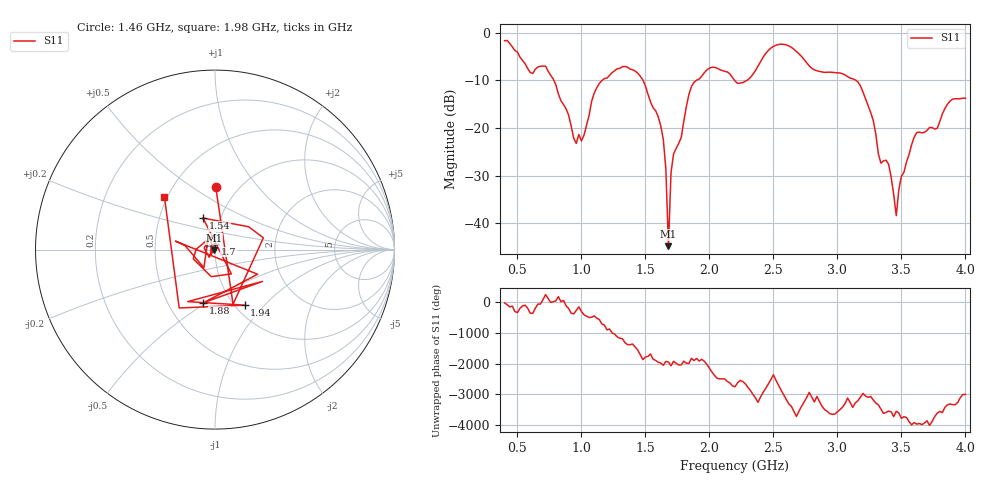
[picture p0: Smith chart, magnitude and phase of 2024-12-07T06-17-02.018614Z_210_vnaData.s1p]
!Created with skrf (http://scikit-rf.org).
# Hz S RI R 50.0
!freq ReS11 ImS11
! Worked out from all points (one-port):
!   181 points, 400 MHz to 4 GHz, reference 50 ohm
!   lowest |S11| = -44.8 dB at 1.68 GHz (marker M1), VSWR 1.01, Z = 49.5 - j0.288 ohm
!   |S11| at or under -10 dB: 785.4 MHz to 1.161 GHz (375.7 MHz wide, 38.6 % of centre); 1.482 GHz to 1.897 GHz (415.3 MHz wide, 24.6 % of centre); 3.146 GHz to end of sweep (the widest 3 of 4)
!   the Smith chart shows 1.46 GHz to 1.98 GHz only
!   S11 on the Smith chart (normalised r, x): 1.46 GHz: 0.79, +0.63; 1.54 GHz: 0.82, +0.30; 1.7 GHz: 1.00, +0.07; 1.88 GHz: 0.74, -0.48; 1.94 GHz: 1.11, -0.78; 1.98 GHz: 0.48, +0.34
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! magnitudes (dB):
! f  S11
! 400 MHz  -1.6
! 600 MHz  -8.3
! 720 MHz  -7.0
! 860 MHz  -15.0
! 1 GHz  -22.7
! 1.12 GHz  -11.5
! 1.3 GHz  -7.5
! 1.46 GHz  -9.1
! 1.54 GHz  -14.5
! 1.64 GHz  -22.4
! 1.66 GHz  -28.7
! 1.68 GHz  -44.8
! 1.7 GHz  -29.4
! 1.76 GHz  -23.3
! 1.88 GHz  -10.4
! 1.94 GHz  -9.1
! 1.98 GHz  -7.8
! 2.2 GHz  -10.1
! 2.66 GHz  -3.4
! 3.1 GHz  -9.5
! 3.26 GHz  -16.7
! 3.34 GHz  -27.4
! 3.4 GHz  -27.6
! 3.46 GHz  -38.4
! 3.5 GHz  -30.1
! 3.56 GHz  -25.5
! 3.62 GHz  -20.9
! 4 GHz  -13.7
